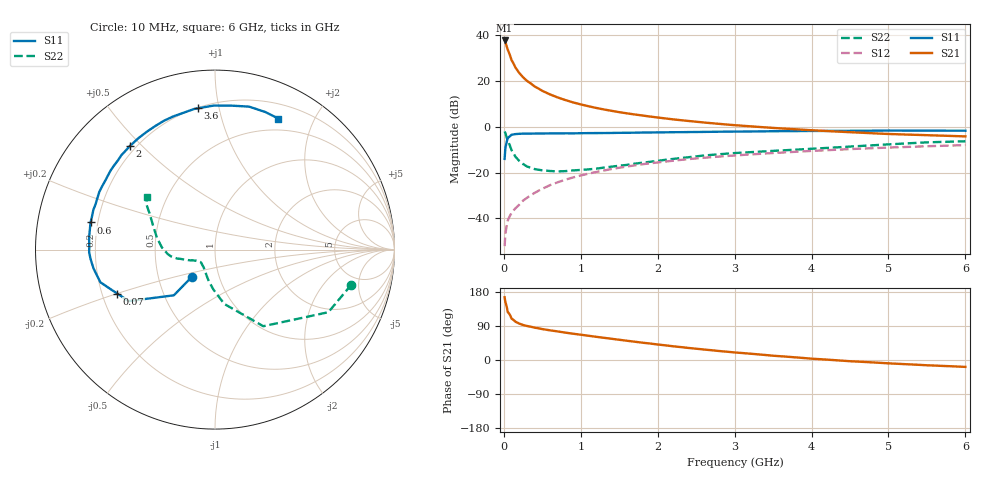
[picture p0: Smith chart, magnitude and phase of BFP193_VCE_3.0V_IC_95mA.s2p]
! Infineon Technologies  Discrete & RF Semiconductors
! BFP193
! VCE =  3.0 V,  IC =  95 mA
! Common Emitter S-Parameters:  Jan 2017
# GHz  S  MA  R  50
!  f  S11  S21  S12  S22
! GHz  MAG  ANG  MAG  ANG  MAG  ANG  MAG  ANG
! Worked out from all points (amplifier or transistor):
!   77 points, 10 MHz to 6 GHz, reference 50 ohm
!   highest |S21| = 37.5 dB at 10 MHz (marker M1)
!   |S21| within 3 dB of that: start of sweep to 40.89 MHz
!   unconditionally stable (mu >= 1): 254.1 MHz to 2.743 GHz
!   at 130 MHz: K = 0.83, MSG = 31.7 dB, |S12| = -36.4 dB
!   at 2.2 GHz: K = 1.03, MAG = 7.9 dB, |S12| = -14.9 dB
!   at 6 GHz: K = 0.98, MSG = 1.9 dB, |S12| = -8.1 dB
!   S11 on the Smith chart (normalised r, x): 10 MHz: 0.74, -0.23; 70 MHz: 0.26, -0.20; 600 MHz: 0.17, +0.10; 2 GHz: 0.18, +0.46; 3.6 GHz: 0.20, +0.87; 6 GHz: 0.36, +1.53
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0.01  0.1979 -130.3  74.59 165.6  0.0025 78.4  0.7846 -14.4
0.02  0.3425 -132.0  69.58 152.7  0.0046 77.8  0.7216 -28.9
0.05  0.5605 -149.2  47.28 127.0  0.0089 56.7  0.5045 -57.8
0.07  0.597 -155.8  39.15 122.0  0.0106 57.6  0.4188 -64.2
0.1  0.6642 -164.1  27.94 109.1  0.0132 58.5  0.3071 -80.3
0.15  0.6852 -171.3  19.28 101.1  0.0166 63.5  0.2213 -92.5
0.2  0.6949 -175.5  14.66 96.1  0.0199 67.6  0.1788 -101.2
0.25  0.7014 -178.7  11.81 92.4  0.0245 68.0  0.1531 -107.6
0.3  0.7006 178.7  9.87 89.8  0.0281 69.4  0.1357 -113.5
0.4  0.7046 174.6  7.457 85.3  0.036 70.7  0.1189 -121.5
0.5  0.7061 170.9  5.978 81.6  0.0443 72.2  0.1116 -128.4
0.6  0.7096 167.7  5.003 78.3  0.0531 71.8  0.1079 -133.7
0.8  0.713 161.9  3.767 72.2  0.0699 71.4  0.1072 -140.0
1.1  0.7205 153.4  2.767 64.0  0.0944 68.2  0.1171 -147.5
1.5  0.7299 142.7  2.056 53.4  0.127 63.5  0.1403 -155.0
2  0.7466 129.6  1.572 40.9  0.1658 56.8  0.18 -161.8
2.1  0.7492 127.1  1.501 38.7  0.1731 55.4  0.1887 -163.4
3.1  0.7788 105.7  1.042 18.4  0.2408 42.1  0.2708 -176.4
3.6  0.7928 96.9  0.912 9.9  0.2711 36.1  0.3016 175.9
4.1  0.8026 89.0  0.815 2.3  0.3003 29.8  0.3355 166.9
5.1  0.8175 75.3  0.681 -9.8  0.3535 17.8  0.4179 150.9
6  0.811 64.2  0.611 -18.2  0.3947 7.4  0.4783 142.6
